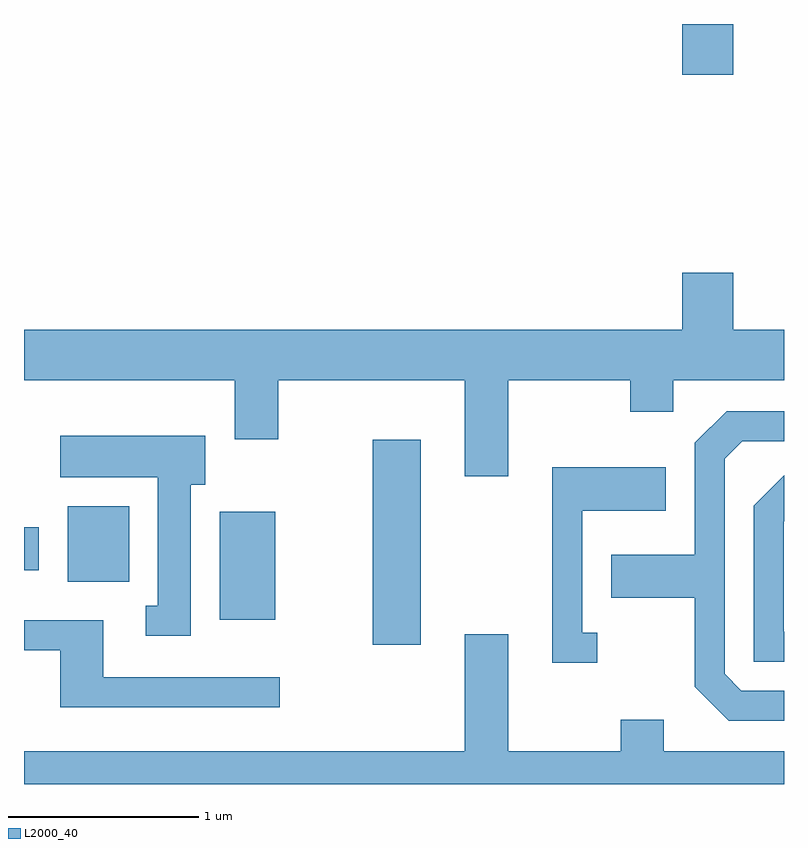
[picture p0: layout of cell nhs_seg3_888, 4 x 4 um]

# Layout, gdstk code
import gdstk
lib = gdstk.Library(unit=1e-6, precision=1e-09)
def R(c, l, rs):  # rectangles x0, y0, x1, y1
    for r in rs: c.add(gdstk.rectangle(r[:2], r[2:], *l))
def P(c, l, *ps):  # polygons
    for p in ps: c.add(gdstk.Polygon(p, *l))
L2000_40 = (2000, 40)

nhs_seg3_888 = lib.new_cell('nhs_seg3_888')
R(nhs_seg3_888, L2000_40, [(213.446,1124.626,213.699,1125.704), (212.641,1124.756,212.934,1125.324), (211.841,1124.956,212.164,1125.354), (211.611,1125.016,211.689,1125.244), (215.076,1127.626,215.344,1127.892)])
P(nhs_seg3_888, L2000_40, [(211.611,1126.016),(212.721,1126.016),(212.721,1125.706),(212.949,1125.706),(212.949,1126.016),(213.931,1126.016),(213.931,1125.511),(214.159,1125.511),(214.159,1126.016),(214.801,1126.016),(214.801,1125.851),(215.029,1125.851),(215.029,1126.016),(215.611,1126.016),(215.611,1126.284),(215.344,1126.284),(215.344,1126.584),(215.076,1126.584),(215.076,1126.284),(211.611,1126.284)],
  [(215.611,1124.384),(215.387,1124.384),(215.299,1124.472),(215.299,1125.604),(215.392,1125.696),(215.611,1125.696),(215.611,1125.854),(215.309,1125.854),(215.141,1125.687),(215.141,1125.099),(214.701,1125.099),(214.701,1124.871),(215.141,1124.871),(215.141,1124.404),(215.319,1124.226),(215.611,1124.226)],
  [(212.489,1125.466),(212.564,1125.466),(212.564,1125.724),(211.801,1125.724),(211.801,1125.506),(212.316,1125.506),(212.316,1124.829),(212.253,1124.829),(212.253,1124.671),(212.489,1124.671)],
  [(214.628,1124.689),(214.549,1124.689),(214.549,1125.331),(214.989,1125.331),(214.989,1125.559),(214.391,1125.559),(214.391,1124.531),(214.628,1124.531)],
  [(215.611,1124.694),(215.609,1124.694),(215.609,1125.274),(215.611,1125.276),(215.611,1125.516),(215.451,1125.357),(215.451,1124.536),(215.611,1124.536)],
  [(212.958,1124.454),(212.029,1124.454),(212.029,1124.754),(211.611,1124.754),(211.611,1124.596),(211.801,1124.596),(211.801,1124.296),(212.958,1124.296)],
  [(215.611,1124.064),(214.979,1124.064),(214.979,1124.229),(214.751,1124.229),(214.751,1124.064),(214.159,1124.064),(214.159,1124.679),(213.931,1124.679),(213.931,1124.064),(211.611,1124.064),(211.611,1123.892),(215.611,1123.892)])

lib.write_gds('nhs_seg3_888.gds')
